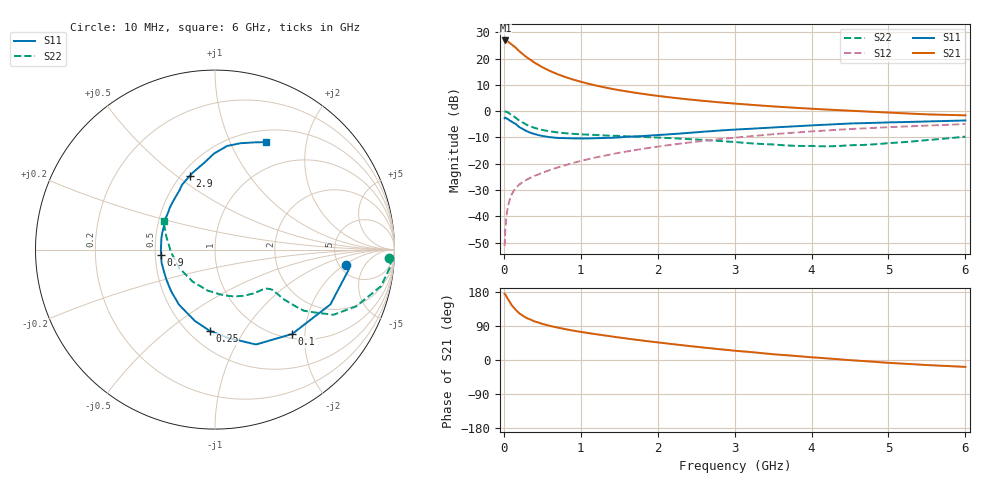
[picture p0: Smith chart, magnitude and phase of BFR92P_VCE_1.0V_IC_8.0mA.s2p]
! Infineon Technologies  Discrete & RF Semiconductors
! BFR92P
! VCE =  1.0 V,  IC =  8.0 mA
! Common Emitter S-Parameters:  Apr 2014
# GHz  S  MA  R  50
!  f  S11  S21  S12  S22
! GHz  MAG  ANG  MAG  ANG  MAG  ANG  MAG  ANG
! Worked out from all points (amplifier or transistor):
!   77 points, 10 MHz to 6 GHz, reference 50 ohm
!   highest |S21| = 26.9 dB at 20 MHz (marker M1)
!   |S21| within 3 dB of that: start of sweep to 163.3 MHz
!   unconditionally stable (mu >= 1): 702.7 MHz to 2.983 GHz
!   at 130 MHz: K = 0.35, MSG = 27.5 dB, |S12| = -30.3 dB
!   at 2.2 GHz: K = 1.05, MAG = 7.5 dB, |S12| = -12.7 dB
!   at 6 GHz: K = 0.92, MSG = 1.7 dB, |S12| = -4.9 dB
!   S11 on the Smith chart (normalised r, x): 10 MHz: 5.70, -2.11; 100 MHz: 1.09, -1.72; 250 MHz: 0.63, -0.71; 900 MHz: 0.54, -0.03; 2.9 GHz: 0.55, +0.56; 6 GHz: 0.64, +1.38
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0.01  0.7332 -6.7  21.74 174.8  0.0027 87.4  0.9704 -2.6
0.02  0.7534 -8.5  22.03 172.4  0.0058 90.2  0.9841 -5.1
0.05  0.7119 -25.4  21.25 161.5  0.0145 79.3  0.9476 -12.4
0.1  0.6371 -47.5  18.61 145.0  0.0257 68.8  0.8466 -22.0
0.15  0.576 -66.6  16.29 133.2  0.0339 64.0  0.7537 -28.8
0.2  0.4973 -81.6  13.84 123.2  0.0399 60.0  0.6626 -32.0
0.25  0.4532 -93.8  11.98 116.5  0.0454 58.6  0.6016 -34.5
0.3  0.4131 -105.7  10.48 110.3  0.0498 58.1  0.5453 -35.2
0.4  0.3664 -123.3  8.306 101.7  0.0586 58.5  0.4779 -35.8
0.5  0.3366 -136.6  6.829 95.3  0.0669 59.7  0.4378 -35.5
0.6  0.3184 -148.3  5.785 90.0  0.076 60.4  0.4111 -35.2
0.7  0.309 -157.8  5.021 85.5  0.0846 61.2  0.3927 -35.0
0.8  0.3061 -166.9  4.435 81.4  0.0938 61.7  0.3796 -35.5
0.9  0.3023 -174.4  3.985 77.6  0.1034 62.2  0.3691 -36.3
1.1  0.3018 173.5  3.309 71.0  0.1222 62.3  0.3569 -38.0
1.5  0.3159 153.1  2.499 59.3  0.1612 61.0  0.3369 -43.7
2.1  0.3578 130.2  1.869 44.2  0.2211 56.6  0.3091 -55.2
2.9  0.4354 108.6  1.428 26.6  0.302 48.8  0.2639 -76.3
3.1  0.4528 104.4  1.356 22.8  0.3218 46.3  0.2509 -83.5
4.1  0.5434 89.1  1.089 5.8  0.4196 34.2  0.2147 -130.6
5.1  0.6137 75.3  0.923 -8.6  0.5015 21.0  0.2507 179.1
6  0.6634 64.6  0.83 -18.2  0.5667 9.2  0.3263 151.3
